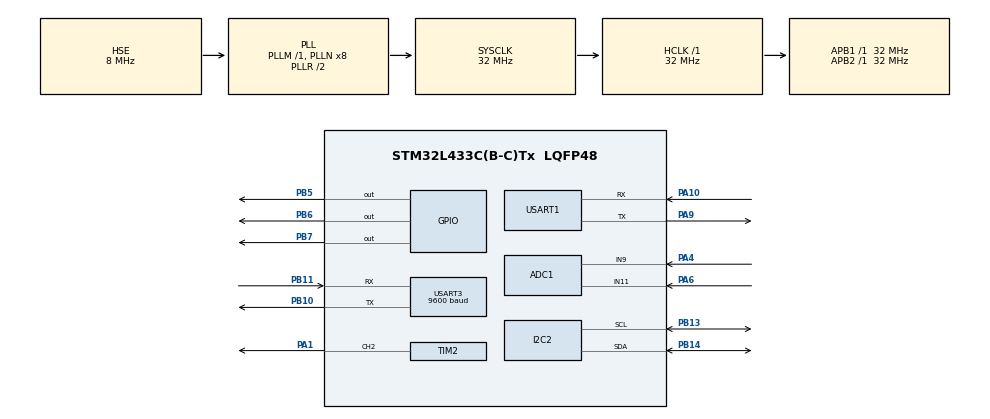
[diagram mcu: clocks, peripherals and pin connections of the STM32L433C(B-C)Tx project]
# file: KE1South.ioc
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ADC1.Channel-0\#ChannelRegularConversion=ADC_CHANNEL_11
ADC1.Channel-1\#ChannelRegularConversion=ADC_CHANNEL_9
ADC1.ContinuousConvMode=ENABLE
ADC1.DMAContinuousRequests=ENABLE
ADC1.NbrOfConversion=2
ADC1.NbrOfConversionFlag=1
ADC1.OffsetNumber-0\#ChannelRegularConversion=ADC_OFFSET_NONE
ADC1.OffsetNumber-1\#ChannelRegularConversion=ADC_OFFSET_NONE
ADC1.Rank-0\#ChannelRegularConversion=1
ADC1.Rank-1\#ChannelRegularConversion=2
ADC1.SamplingTime-0\#ChannelRegularConversion=ADC_SAMPLETIME_2CYCLES_5
ADC1.SamplingTime-1\#ChannelRegularConversion=ADC_SAMPLETIME_2CYCLES_5
ADC1.master=1
Dma.ADC1.0.Direction=DMA_PERIPH_TO_MEMORY
Dma.ADC1.0.Instance=DMA1_Channel1
Dma.ADC1.0.MemDataAlignment=DMA_MDATAALIGN_WORD
Dma.ADC1.0.MemInc=DMA_MINC_ENABLE
Dma.ADC1.0.Mode=DMA_CIRCULAR
Dma.ADC1.0.PeriphDataAlignment=DMA_PDATAALIGN_HALFWORD
Dma.ADC1.0.PeriphInc=DMA_PINC_DISABLE
Dma.ADC1.0.Priority=DMA_PRIORITY_LOW
Dma.Request0=ADC1
I2C2.Timing=0x00707CBB
Mcu.Family=STM32L4
Mcu.Name=STM32L433C(B-C)Tx
Mcu.Package=LQFP48
NVIC.ADC1_IRQn=true\:0\:0\:false\:false\:true\:true\:true
NVIC.DMA1_Channel1_IRQn=true\:0\:0\:false\:false\:true\:false\:true
NVIC.PriorityGroup=NVIC_PRIORITYGROUP_4
NVIC.USART1_IRQn=true\:3\:0\:true\:false\:true\:true\:true
NVIC.USART3_IRQn=true\:1\:0\:true\:false\:true\:true\:true
PA1.Signal=S_TIM2_CH2
PA10.Mode=Asynchronous
PA10.Signal=USART1_RX
PA4.Signal=ADCx_IN9
PA6.Signal=ADCx_IN11
PA9.Mode=Asynchronous
PA9.Signal=USART1_TX
PB10.Mode=Asynchronous
PB10.Signal=USART3_TX
PB11.Mode=Asynchronous
PB11.Signal=USART3_RX
PB13.Mode=I2C
PB13.Signal=I2C2_SCL
PB14.Mode=I2C
PB14.Signal=I2C2_SDA
PB5.Signal=GPIO_Output
PB6.Signal=GPIO_Output
PB7.Signal=GPIO_Output
PH0-OSC_IN\ (PH0).Mode=HSE-External-Oscillator
PH0-OSC_IN\ (PH0).Signal=RCC_OSC_IN
PH1-OSC_OUT\ (PH1).Mode=HSE-External-Oscillator
PH1-OSC_OUT\ (PH1).Signal=RCC_OSC_OUT
ProjectManager.HeapSize=0x200
ProjectManager.StackSize=0x400
ProjectManager.TargetToolchain=MDK-ARM V5
RCC.ADCFreq_Value=32000000
RCC.AHBFreq_Value=32000000
RCC.APB1Freq_Value=32000000
RCC.APB1TimFreq_Value=32000000
RCC.APB2Freq_Value=32000000
RCC.APB2TimFreq_Value=32000000
RCC.CortexFreq_Value=32000000
RCC.HCLKFreq_Value=32000000
RCC.HSE_VALUE=8000000
RCC.HSI48_VALUE=48000000
RCC.HSI_VALUE=16000000
RCC.LSE_VALUE=32768
RCC.MSI_VALUE=4000000
RCC.PLLSourceVirtual=RCC_PLLSOURCE_HSE
RCC.SYSCLKFreq_VALUE=32000000
RCC.SYSCLKSource=RCC_SYSCLKSOURCE_PLLCLK
RCC.USBFreq_Value=32000000
RCC.VCOOutputFreq_Value=64000000
SH.ADCx_IN11.0=ADC1_IN11,IN11-Single-Ended
SH.ADCx_IN9.0=ADC1_IN9,IN9-Single-Ended
SH.S_TIM2_CH2.0=TIM2_CH2,PWM Generation2 CH2
TIM2.Channel-PWM\ Generation2\ CH2=TIM_CHANNEL_2
TIM2.Period=370-1
TIM2.Prescaler=64-1
TIM2.Pulse-PWM\ Generation2\ CH2=185
USART1.VirtualMode-Asynchronous=VM_ASYNC
USART3.BaudRate=9600
USART3.VirtualMode-Asynchronous=VM_ASYNC
board=custom

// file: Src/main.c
/* USER CODE BEGIN Header */
/**
  ******************************************************************************
  * @file           : main.c
  * @brief          : Main program body
  ******************************************************************************
  * @attention
  *
  * <h2><center>&copy; Copyright (c) 2019 STMicroelectronics.
  * All rights reserved.</center></h2>
  *
  * This software component is licensed by ST under BSD 3-Clause license,
  * the "License"; You may not use this file except in compliance with the
  * License. You may obtain a copy of the License at:
  *                        opensource.org/licenses/BSD-3-Clause
  *
  ******************************************************************************
  */
/* USER CODE END Header */

#include "main.h"
#include "adc.h"
#include "dma.h"
#include "i2c.h"
#include "tim.h"
#include "usart.h"
#include "gpio.h"

/* USER CODE BEGIN Includes */
#include <stdio.h>
#include <string.h>
#include <stdlib.h>
/* USER CODE END Includes */

void SystemClock_Config(void);

/* USER CODE BEGIN 0 */
int KE1_Parse_NNMI(char *pcNNMI, char *pcOut)
{
  char ch = 0, lenFlag = 0, dataFlag = 0;
  char acLen[5] = {0};
  int i = 0, pos = 0, dLen = 0;
  //+NNMI:6,010009020000
  for(i=0; i<strlen(pcNNMI); i++){
    ch = pcNNMI[i];
    if(0x0D == ch && 1 == dataFlag) break;

    if(':' == ch){
      lenFlag = 1; pos = 0;
      continue;
    }
    if(',' == ch){
      lenFlag = 0;
      dataFlag = 1; pos = 0;
      dLen = atoi(acLen);
      continue;
    }
    if(1 == lenFlag){
      acLen[pos++] = ch;
    }
    if(1 == dataFlag){
      pcOut[pos++] = ch;
    }
  }
  return dLen;
}

void ascii2hex(char *pcAscii, char *pcHex)
{
  int iDlen = 0, i = 0, pos = 0;
  iDlen = strlen(pcAscii);
  if(128 < iDlen) return;
  for(i=0; i<iDlen; i++){
    sprintf(&pcHex[pos], "%02X", pcAscii[i]);
    pos += 2;
  }
}

char acDevInfo[128] = {0}, acHexBuf[256] = {0}, acAtBuf[512] = {0}, acUserCmd[64] = {0};
/* USER CODE END 0 */

int main(void)
{
  /* USER CODE BEGIN 1 */
  float fTemp = 34.2, fHumi = 0.0;
  int iUserCase = 0, iRet = -1;
  char netFlag = 0, cmdLen = 0;
  uint32_t atLen = 0, dLen = 0, timeout = 1000, upFreq = 0;

	uint32_t ADC_Value[100];
	uint8_t i;
	uint32_t ad1, ad2;

	char str[2];
	uint32_t current_cmd;
	uint32_t current_state = 0; //���SET
  /* USER CODE END 1 */

  /* MCU Configuration--------------------------------------------------------*/

  /* Reset of all peripherals, Initializes the Flash interface and the Systick. */
  HAL_Init();

  /* Configure the system clock */
  SystemClock_Config();

  /* Initialize all configured peripherals */
  MX_GPIO_Init();
  MX_USART1_UART_Init();
  MX_USART3_UART_Init();
  MX_I2C2_Init();
  MX_TIM2_Init();
  MX_DMA_Init();
  MX_ADC1_Init();
  /* USER CODE BEGIN 2 */
	HAL_ADC_Start_DMA(&hadc1,(uint32_t*)&ADC_Value,100);
  UART_Enable_Receive_IT();

  printf("********************HELLO**********************\r\n");
  /* USER CODE END 2 */

  /* Infinite loop */
  while (1)
  {

    /* USER CODE BEGIN 3 */
    printf("iUserCase %d\r\n", iUserCase);
    switch(iUserCase){
      case 0:
        KE1_Clear_AT_Buf();
        iUserCase = 1;
        break;
      case 1:
        KE1_Send_AT("AT\r\n");
        break;
      case 2:
        KE1_Send_AT("AT+CFUN=0\r\n");
        timeout = 10000;
        break;
      case 3:
        KE1_Send_AT("AT+NCDP=180.101.147.115,5683\r\n");
        break;
      case 4:
        KE1_Send_AT("AT+CFUN=1\r\n");
        timeout = 10000;
        break;
      case 5:
        KE1_Send_AT("AT+CGDCONT=1,\"IP\",\"CTNB\"\r\n");
        timeout = 1000;
        break;
      case 6:
        KE1_Send_AT("AT+CGATT=1\r\n");
        break;
      #if 1
      case 7:
        if(0 == upFreq && 1 == netFlag){
          KE1_I2C_SHT31(&fTemp, &fHumi);
					for(i = 0,ad1 = 0, ad2 = 0; i<100;) {
							ad1 += ADC_Value[i++];
							ad2 += ADC_Value[i++];
					}
					ad1 /=50 ;
					ad2 /=50 ;
					if(ad1 > 500 && ad2 < 100) {
						HAL_GPIO_WritePin(GPIOB, GPIO_PIN_5|GPIO_PIN_6|GPIO_PIN_7, GPIO_PIN_RESET);
						current_state = 1;
						HAL_Delay(7000);
						HAL_GPIO_WritePin(GPIOB, GPIO_PIN_5|GPIO_PIN_6|GPIO_PIN_7, GPIO_PIN_SET);
						current_state = 0;
					}
					HAL_Delay(1000);
          memset(acDevInfo, 0, sizeof(acDevInfo));
          memset(acAtBuf, 0, sizeof(acAtBuf));
          dLen = snprintf(acDevInfo, sizeof(acDevInfo), "{\"T\":\"%0.2f\",\"H\":\"%0.2f\",\"V\":\"%d\",\"L\":\"%d\"}", fTemp, fHumi, ad1, ad2);
          printf("%s\r\n", acDevInfo);
          ascii2hex(acDevInfo, acHexBuf);
          snprintf(acAtBuf, sizeof(acAtBuf), "AT+NMGS=%d,00%04X%s\r\n", (dLen+3), dLen, acHexBuf);
          printf("%s\r\n", acAtBuf);
          KE1_Send_AT(acAtBuf);
          upFreq = 10;
        }
        break;
        #endif
    }

    atLen = sizeof(acAtBuf);
    iRet = KE1_Recv_AT(acAtBuf, &atLen, timeout);
    //printf("\r\nRAT:%d\r\n",iRet);
    if(0 == iRet){

    }else if(1 == iRet){
      if(7 == iUserCase){

      }else{
        iUserCase++;
      }

      HAL_Delay(1000);
    }else if(2 == iRet){
      printf("AT error !\r\n");
      if(7 == iUserCase){
        iUserCase = 0;
      }
      HAL_Delay(1000);
    }else if(3 == iRet){
      printf("Net ready !\r\n");
      netFlag = 1;
      HAL_Delay(5000);
    }else if(4 == iRet){
      printf("%s", acAtBuf);
      memset(acUserCmd, 0, sizeof(acUserCmd));
      cmdLen = KE1_Parse_NNMI(acAtBuf, acUserCmd);
      printf("user data[%d]:%s\r\n", cmdLen, acUserCmd);
      if(strstr(acUserCmd, "AAAA0000")){
        printf("device info upload successfully\r\n");
      }else{

        //HAL_GPIO_TogglePin(GPIOB, GPIO_PIN_5|GPIO_PIN_6|GPIO_PIN_7);
        //HAL_Delay(1000);
        /* 向平台发送命令响�?
        * AT+NMGS=5,02000A000A
        */
				str[0] = acUserCmd[6];
				str[1] = acUserCmd[7];
				current_cmd = atoi(str); //0��ƣ�1����
				printf("CURRENT COMMAND : %d\r\n", current_cmd);
				if(current_state == 0) {
					if(current_cmd > 0) {
						uint16_t light_time = current_cmd*10000;
						printf("light time = %d\r\n", light_time);
						HAL_GPIO_WritePin(GPIOB, GPIO_PIN_5|GPIO_PIN_6|GPIO_PIN_7, GPIO_PIN_RESET);
						current_state = 1;
						HAL_Delay(light_time-1000);
						Beep_Switch(0);
						HAL_Delay(1000);
						Beep_Switch(1);
						HAL_Delay(1000);
						HAL_GPIO_WritePin(GPIOB, GPIO_PIN_5|GPIO_PIN_6|GPIO_PIN_7, GPIO_PIN_SET);
						current_state = 0;
					}
				} else if(current_state == 1) {
					if(current_cmd == 0) {
						current_state = 0;
						Beep_Switch(0);
						HAL_Delay(1000);
						Beep_Switch(1);
						HAL_Delay(1000);
						HAL_GPIO_WritePin(GPIOB, GPIO_PIN_5|GPIO_PIN_6|GPIO_PIN_7, GPIO_PIN_SET);
					}
				}

				acUserCmd[1] = '2';
        acUserCmd[6] = '0';acUserCmd[7] = '0';acUserCmd[8] = '0';acUserCmd[9] = '0';acUserCmd[10] = 0;
        snprintf(acAtBuf, sizeof(acAtBuf), "AT+NMGS=%d,%s\r\n", 5, acUserCmd);// 打包COAP数据包AT命令
        KE1_Send_AT(acAtBuf);
      }

    }

    if(0 != upFreq) upFreq--;
  }
  /* USER CODE END 3 */
}

void SystemClock_Config(void)
{
  RCC_OscInitTypeDef RCC_OscInitStruct = {0};
  RCC_ClkInitTypeDef RCC_ClkInitStruct = {0};
  RCC_PeriphCLKInitTypeDef PeriphClkInit = {0};

  /** Initializes the CPU, AHB and APB busses clocks
  */
  RCC_OscInitStruct.OscillatorType = RCC_OSCILLATORTYPE_HSE;
  RCC_OscInitStruct.HSEState = RCC_HSE_ON;
  RCC_OscInitStruct.PLL.PLLState = RCC_PLL_ON;
  RCC_OscInitStruct.PLL.PLLSource = RCC_PLLSOURCE_HSE;
  RCC_OscInitStruct.PLL.PLLM = 1;
  RCC_OscInitStruct.PLL.PLLN = 8;
  RCC_OscInitStruct.PLL.PLLP = RCC_PLLP_DIV7;
  RCC_OscInitStruct.PLL.PLLQ = RCC_PLLQ_DIV2;
  RCC_OscInitStruct.PLL.PLLR = RCC_PLLR_DIV2;
  if (HAL_RCC_OscConfig(&RCC_OscInitStruct) != HAL_OK)
  {
    Error_Handler();
  }
  /** Initializes the CPU, AHB and APB busses clocks
  */
  RCC_ClkInitStruct.ClockType = RCC_CLOCKTYPE_HCLK|RCC_CLOCKTYPE_SYSCLK
                              |RCC_CLOCKTYPE_PCLK1|RCC_CLOCKTYPE_PCLK2;
  RCC_ClkInitStruct.SYSCLKSource = RCC_SYSCLKSOURCE_PLLCLK;
  RCC_ClkInitStruct.AHBCLKDivider = RCC_SYSCLK_DIV1;
  RCC_ClkInitStruct.APB1CLKDivider = RCC_HCLK_DIV1;
  RCC_ClkInitStruct.APB2CLKDivider = RCC_HCLK_DIV1;

  if (HAL_RCC_ClockConfig(&RCC_ClkInitStruct, FLASH_LATENCY_1) != HAL_OK)
  {
    Error_Handler();
  }
  PeriphClkInit.PeriphClockSelection = RCC_PERIPHCLK_USART1|RCC_PERIPHCLK_USART3
                              |RCC_PERIPHCLK_I2C2|RCC_PERIPHCLK_ADC;
  PeriphClkInit.Usart1ClockSelection = RCC_USART1CLKSOURCE_PCLK2;
  PeriphClkInit.Usart3ClockSelection = RCC_USART3CLKSOURCE_PCLK1;
  PeriphClkInit.I2c2ClockSelection = RCC_I2C2CLKSOURCE_PCLK1;
  PeriphClkInit.AdcClockSelection = RCC_ADCCLKSOURCE_PLLSAI1;
  PeriphClkInit.PLLSAI1.PLLSAI1Source = RCC_PLLSOURCE_HSE;
  PeriphClkInit.PLLSAI1.PLLSAI1M = 1;
  PeriphClkInit.PLLSAI1.PLLSAI1N = 8;
  PeriphClkInit.PLLSAI1.PLLSAI1P = RCC_PLLP_DIV7;
  PeriphClkInit.PLLSAI1.PLLSAI1Q = RCC_PLLQ_DIV2;
  PeriphClkInit.PLLSAI1.PLLSAI1R = RCC_PLLR_DIV2;
  PeriphClkInit.PLLSAI1.PLLSAI1ClockOut = RCC_PLLSAI1_ADC1CLK;
  if (HAL_RCCEx_PeriphCLKConfig(&PeriphClkInit) != HAL_OK)
  {
    Error_Handler();
  }
  /** Configure the main internal regulator output voltage
  */
  if (HAL_PWREx_ControlVoltageScaling(PWR_REGULATOR_VOLTAGE_SCALE1) != HAL_OK)
  {
    Error_Handler();
  }
}

void Error_Handler(void)
{
}

/************************ (C) COPYRIGHT STMicroelectronics *****END OF FILE****/
